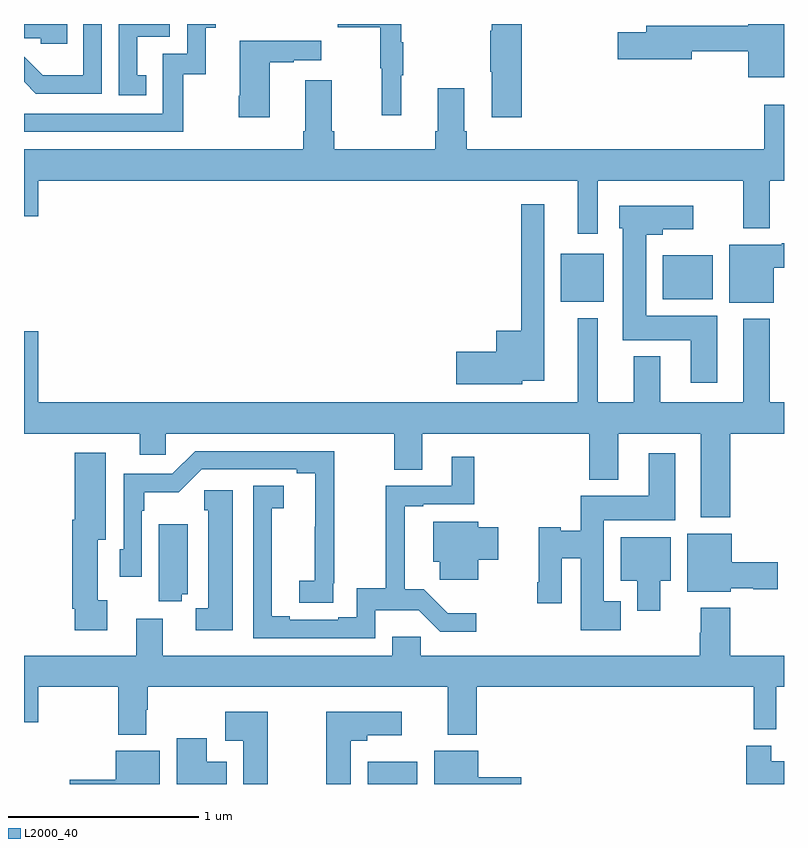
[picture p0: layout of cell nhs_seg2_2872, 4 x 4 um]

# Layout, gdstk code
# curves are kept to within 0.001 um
import gdstk
lib = gdstk.Library(unit=1e-6, precision=1e-09)
def R(c, l, rs):  # rectangles x0, y0, x1, y1
    for r in rs: c.add(gdstk.rectangle(r[:2], r[2:], *l))
def P(c, l, *ps):  # polygons
    for p in ps: c.add(gdstk.Polygon(p, *l))
L2000_40 = (2000, 40)

nhs_seg2_2872 = lib.new_cell('nhs_seg2_2872')
R(nhs_seg2_2872, L2000_40, [(262.808,637.8,263.071,637.918), (263.825,640.337,264.052,640.591), (264.362,640.352,264.625,640.582)])
P(nhs_seg2_2872, L2000_40, [(263.621,641.8),(263.462,641.8),(263.462,641.765),(263.455,641.765),(263.455,641.548),(263.462,641.548),(263.462,641.31),(263.621,641.31)],
  [(261.227,641.8),(261,641.8),(261,641.724),(261.087,641.724),(261.087,641.697),(261.227,641.697)],
  [(265,641.8),(264.812,641.8),(264.812,641.792),(264.275,641.792),(264.275,641.756),(264.126,641.756),(264.126,641.614),(264.514,641.614),(264.514,641.656),(264.812,641.656),(264.812,641.519),(265,641.519)],
  [(261.408,641.8),(261.312,641.8),(261.312,641.53),(261.098,641.53),(261,641.628),(261,641.495),(261.062,641.433),(261.408,641.433)],
  [(261.644,641.529),(261.595,641.529),(261.595,641.733),(261.768,641.733),(261.768,641.8),(261.498,641.8),(261.498,641.424),(261.644,641.424)],
  [(262.985,641.531),(262.996,641.531),(262.996,641.705),(262.985,641.705),(262.985,641.8),(262.651,641.8),(262.651,641.782),(262.875,641.782),(262.875,641.568),(262.882,641.568),(262.882,641.319),(262.985,641.319)],
  [(261.838,641.535),(261.956,641.535),(261.956,641.781),(262.009,641.781),(262.009,641.8),(261.858,641.8),(261.858,641.643),(261.729,641.643),(261.729,641.328),(261,641.328),(261,641.232),(261.838,641.232)],
  [(262.294,641.599),(262.421,641.599),(262.421,641.609),(262.564,641.609),(262.564,641.713),(262.136,641.713),(262.136,641.422),(262.129,641.422),(262.129,641.31),(262.294,641.31)],
  [(264.019,640.976),(264.785,640.976),(264.785,640.724),(264.925,640.724),(264.925,640.976),(265,640.976),(265,641.374),(264.895,641.374),(264.895,641.14),(263.33,641.14),(263.33,641.236),(263.317,641.236),(263.317,641.461),(263.177,641.461),(263.177,641.236),(263.165,641.236),(263.165,641.14),(262.634,641.14),(262.634,641.236),(262.621,641.236),(262.621,641.503),(262.481,641.503),(262.481,641.236),(262.469,641.236),(262.469,641.14),(261,641.14),(261,640.788),(261.076,640.788),(261.076,640.976),(263.915,640.976),(263.915,640.695),(264.019,640.695)],
  [(263.622,639.923),(263.737,639.923),(263.737,640.852),(263.616,640.852),(263.616,640.186),(263.486,640.186),(263.486,640.076),(263.274,640.076),(263.274,639.905),(263.622,639.905)],
  [(264.649,640.264),(264.274,640.264),(264.274,640.691),(264.361,640.691),(264.361,640.721),(264.523,640.721),(264.523,640.843),(264.134,640.843),(264.134,640.725),(264.152,640.725),(264.152,640.136),(264.509,640.136),(264.509,639.912),(264.649,639.912)],
  [(264.946,640.517),(265,640.517),(265,640.647),(264.989,640.647),(264.989,640.639),(264.713,640.639),(264.713,640.334),(264.946,640.334)],
  [(263.915,639.808),(261.076,639.808),(261.076,640.183),(261,640.183),(261,639.644),(261.608,639.644),(261.608,639.534),(261.747,639.534),(261.747,639.644),(262.948,639.644),(262.948,639.454),(263.095,639.454),(263.095,639.644),(263.975,639.644),(263.975,639.401),(264.127,639.401),(264.127,639.644),(264.563,639.644),(264.563,639.203),(264.716,639.203),(264.716,639.644),(265,639.644),(265,639.808),(264.925,639.808),(264.925,640.249),(264.785,640.249),(264.785,639.808),(264.349,639.808),(264.349,640.051),(264.209,640.051),(264.209,639.808),(264.019,639.808),(264.019,640.252),(263.915,640.252)],
  [(262.628,638.857),(262.634,638.857),(262.634,639.552),(261.9,639.552),(261.78,639.432),(261.525,639.432),(261.525,639.036),(261.504,639.036),(261.504,638.892),(261.621,638.892),(261.621,639.239),(261.634,639.239),(261.634,639.335),(261.815,639.335),(261.936,639.456),(262.436,639.456),(262.436,639.436),(262.532,639.436),(262.531,638.87),(262.449,638.87),(262.449,638.755),(262.628,638.755)],
  [(261.439,638.766),(261.388,638.766),(261.388,639.086),(261.43,639.086),(261.43,639.544),(261.266,639.544),(261.266,639.19),(261.254,639.19),(261.254,638.722),(261.266,638.722),(261.266,638.61),(261.439,638.61)],
  [(264.142,638.761),(264.052,638.761),(264.052,639.188),(264.427,639.188),(264.427,639.541),(264.287,639.541),(264.287,639.316),(263.93,639.316),(263.93,639.134),(263.826,639.134),(263.826,639.152),(263.708,639.152),(263.708,638.863),(263.701,638.863),(263.701,638.751),(263.83,638.751),(263.83,638.987),(263.93,638.987),(263.93,638.609),(264.142,638.609)],
  [(262.848,638.714),(263.077,638.714),(263.19,638.601),(263.38,638.601),(263.38,638.698),(263.231,638.698),(263.105,638.824),(263.005,638.824),(263.005,639.261),(263.101,639.261),(263.101,639.273),(263.369,639.273),(263.369,639.523),(263.252,639.523),(263.252,639.369),(262.903,639.369),(262.903,638.831),(262.752,638.831),(262.752,638.678),(262.655,638.678),(262.655,638.664),(262.399,638.664),(262.399,638.684),(262.303,638.684),(262.303,638.947),(262.305,638.947),(262.305,639.251),(262.366,639.251),(262.366,639.371),(262.206,639.371),(262.206,638.568),(262.848,638.568)],
  [(262.099,639.346),(261.949,639.346),(261.949,639.24),(261.971,639.24),(261.971,638.724),(261.903,638.724),(261.903,638.609),(262.099,638.609)],
  [(263.392,638.981),(263.497,638.981),(263.497,639.152),(263.392,639.152),(263.392,639.181),(263.153,639.181),(263.153,638.969),(263.189,638.969),(263.189,638.876),(263.392,638.876)],
  [(261.83,638.798),(261.862,638.798),(261.862,639.166),(261.71,639.166),(261.71,638.761),(261.83,638.761)],
  [(264.72,638.831),(264.837,638.831),(264.837,638.824),(264.967,638.824),(264.967,638.966),(264.724,638.966),(264.724,639.118),(264.491,639.118),(264.491,638.813),(264.72,638.813)],
  [(264.349,638.87),(264.403,638.87),(264.403,639.1),(264.14,639.1),(264.14,638.87),(264.227,638.87),(264.227,638.712),(264.349,638.712)],
  [(261.643,638.192),(261.651,638.192),(261.651,638.312),(263.231,638.312),(263.231,638.06),(263.384,638.06),(263.384,638.312),(264.841,638.312),(264.841,638.087),(264.959,638.087),(264.959,638.312),(265,638.312),(265,638.476),(264.716,638.476),(264.716,638.728),(264.563,638.728),(264.563,638.597),(264.556,638.597),(264.556,638.476),(263.089,638.476),(263.089,638.574),(262.937,638.574),(262.937,638.476),(261.73,638.476),(261.73,638.671),(261.59,638.671),(261.59,638.476),(261,638.476),(261,638.124),(261.076,638.124),(261.076,638.312),(261.496,638.312),(261.496,638.06),(261.643,638.06)],
  [(262.284,638.179),(262.059,638.179),(262.059,638.027),(262.154,638.027),(262.154,637.8),(262.284,637.8)],
  [(262.72,638.027),(262.807,638.027),(262.807,638.057),(262.987,638.057),(262.987,638.179),(262.591,638.179),(262.591,637.8),(262.72,637.8)],
  [(262.066,637.918),(261.961,637.918),(261.961,638.041),(261.803,638.041),(261.803,637.8),(262.066,637.8)],
  [(265,637.921),(264.934,637.921),(264.934,638.002),(264.8,638.002),(264.8,637.8),(265,637.8)],
  [(263.617,637.836),(263.392,637.836),(263.392,637.975),(263.159,637.975),(263.159,637.8),(263.617,637.8)],
  [(261.715,637.975),(261.482,637.975),(261.482,637.823),(261.24,637.823),(261.24,637.8),(261.715,637.8)])

lib.write_gds('nhs_seg2_2872.gds')
